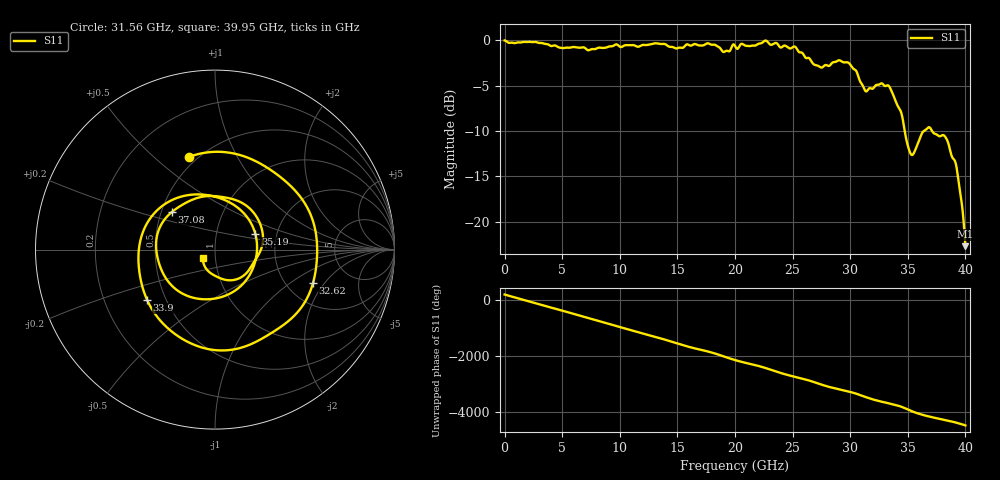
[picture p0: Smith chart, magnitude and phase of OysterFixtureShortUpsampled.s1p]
# MHz MA S R 50.0
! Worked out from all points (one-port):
!   8000 points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, 5 MHz to 40 GHz, reference 50 ohm
!   lowest |S11| = -22.7 dB at 40 GHz (marker M1), VSWR 1.16, Z = 43.8 - j2.88 ohm
!   |S11| at or under -10 dB: 34.74 GHz to 36.38 GHz (1.647 GHz wide, 4.63 % of centre); 37.11 GHz to end of sweep
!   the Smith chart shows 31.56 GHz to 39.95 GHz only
!   S11 on the Smith chart (normalised r, x): 31.56 GHz: 0.45, +0.66; 32.62 GHz: 2.78, -1.54; 33.9 GHz: 0.39, -0.28; 35.19 GHz: 1.54, +0.29; 37.08 GHz: 0.57, +0.26; 39.95 GHz: 0.87, -0.08
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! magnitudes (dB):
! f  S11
! 5 MHz  0.0
! 5.005 GHz  -0.8
! 10.01 GHz  -0.7
! 15.01 GHz  -0.9
! 17.66 GHz  -0.3
! 19.09 GHz  -1.2
! 20 GHz  -0.6
! 22.64 GHz  0.0
! 25 GHz  -0.7
! 27.41 GHz  -2.9
! 29.01 GHz  -2.2
! 30 GHz  -2.7
! 31.25 GHz  -5.4
! 31.56 GHz  -5.4
! 32.62 GHz  -4.8
! 33.37 GHz  -5.0
! 33.9 GHz  -6.5
! 34.44 GHz  -8.0
! 35.01 GHz  -11.6
! 35.19 GHz  -12.3
! 35.52 GHz  -12.5
! 36.41 GHz  -10.0
! 37.08 GHz  -9.9
! 38.26 GHz  -10.6
! 39.1 GHz  -13.3
! 39.56 GHz  -16.9
! 39.95 GHz  -21.8
! 40 GHz  -22.7
